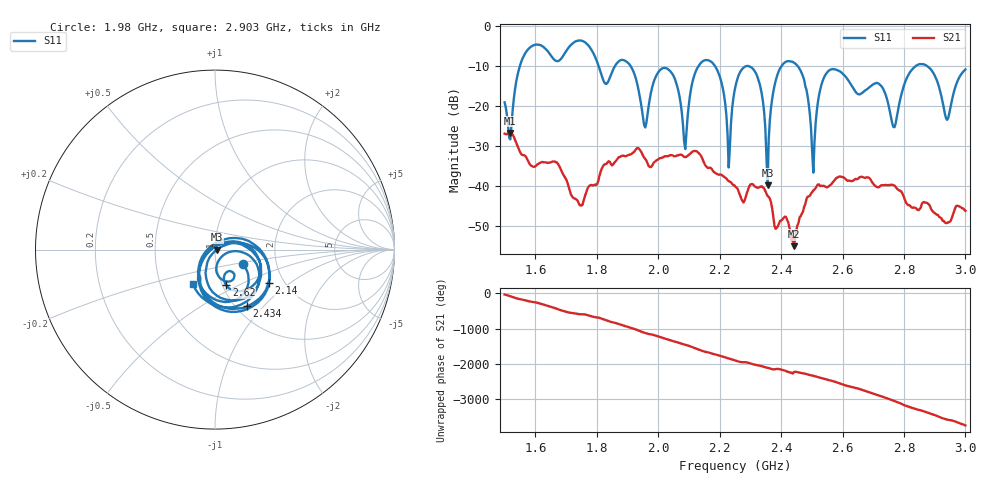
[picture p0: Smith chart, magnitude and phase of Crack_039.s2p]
# HZ S RI R 50
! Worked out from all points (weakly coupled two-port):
!   404 points, 1.5 GHz to 3 GHz, reference 50 ohm
!   highest |S21| = -26.62 dB at 1.519 GHz (marker M1); lowest = -55.0 dB at 2.442 GHz (marker M2)
!   lowest |S11| = -39.8 dB at 2.356 GHz (marker M3), VSWR 1.02, Z = 51 + j0.00384 ohm
!   |S11| at or under -10 dB: 1.911 GHz to 2.131 GHz (219.9 MHz wide, 10.9 % of centre); 2.455 GHz to 2.837 GHz (382.3 MHz wide, 14.4 % of centre); 2.877 GHz to end of sweep (the widest 3 of 7)
!   S12 and S22 are empty: the file has one direction only
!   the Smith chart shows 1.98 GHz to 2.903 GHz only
!   S11 on the Smith chart (normalised r, x): 1.98 GHz: 1.34, -0.21; 2.14 GHz: 1.67, -0.71; 2.434 GHz: 1.12, -0.81; 2.62 GHz: 1.04, -0.43; 2.903 GHz: 0.73, -0.30
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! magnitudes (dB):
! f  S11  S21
! 1.5 GHz  -19.0  -26.8
! 1.519 GHz  -28.3  -26.6
! 1.574 GHz  -5.9  -33.4
! 1.753 GHz  -3.6  -44.7
! 1.958 GHz  -25.3  -33.2
! 1.98 GHz  -15.3  -34.8
! 2.002 GHz  -11.2  -33.1
! 2.088 GHz  -30.7  -32.7
! 2.14 GHz  -9.0  -32.5
! 2.23 GHz  -35.3  -38.7
! 2.252 GHz  -14.9  -40.1
! 2.315 GHz  -11.3  -40.1
! 2.356 GHz  -39.8  -42.4
! 2.434 GHz  -8.8  -53.5
! 2.442 GHz  -9.1  -55.0
! 2.501 GHz  -31.4  -41.5
! 2.546 GHz  -11.9  -40.2
! 2.62 GHz  -13.7  -38.6
! 2.751 GHz  -20.0  -39.7
! 2.903 GHz  -12.8  -46.9
! 2.94 GHz  -23.4  -49.2
! 3 GHz  -10.8  -46.1
